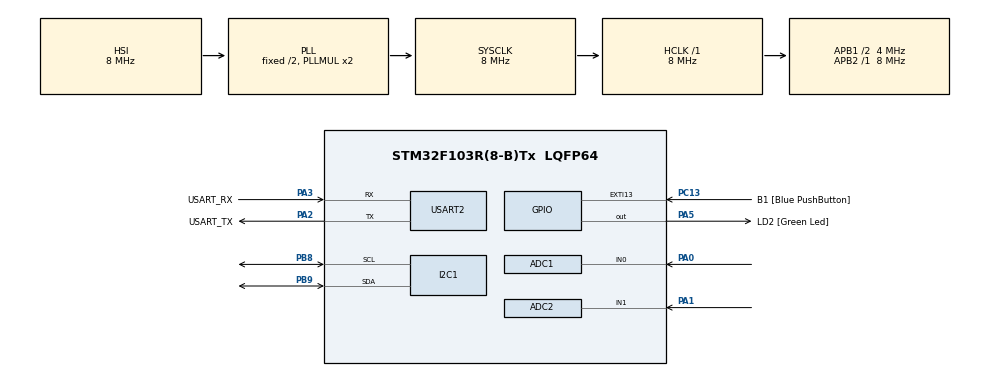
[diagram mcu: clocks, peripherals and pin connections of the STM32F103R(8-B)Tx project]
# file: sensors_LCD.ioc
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ADC1.Channel-0\#ChannelRegularConversion=ADC_CHANNEL_0
ADC1.NbrOfConversionFlag=1
ADC1.Rank-0\#ChannelRegularConversion=1
ADC1.SamplingTime-0\#ChannelRegularConversion=ADC_SAMPLETIME_1CYCLE_5
ADC1.master=1
ADC2.Channel-0\#ChannelRegularConversion=ADC_CHANNEL_1
ADC2.NbrOfConversionFlag=1
ADC2.Rank-0\#ChannelRegularConversion=1
ADC2.SamplingTime-0\#ChannelRegularConversion=ADC_SAMPLETIME_1CYCLE_5
Mcu.Family=STM32F1
Mcu.Name=STM32F103R(8-B)Tx
Mcu.Package=LQFP64
NVIC.EXTI15_10_IRQn=true\:0\:0\:false\:false\:true\:true\:true\:true
NVIC.PriorityGroup=NVIC_PRIORITYGROUP_4
PA0-WKUP.Signal=ADCx_IN0
PA1.Signal=ADCx_IN1
PA13.GPIO_Label=TMS
PA13.Mode=Serial_Wire
PA13.Signal=SYS_JTMS-SWDIO
PA14.GPIO_Label=TCK
PA14.Mode=Serial_Wire
PA14.Signal=SYS_JTCK-SWCLK
PA2.GPIO_Label=USART_TX
PA2.GPIO_Mode=GPIO_MODE_AF_PP
PA2.GPIO_PuPd=GPIO_NOPULL
PA2.GPIO_Speed=GPIO_SPEED_FREQ_LOW
PA2.Mode=Asynchronous
PA2.Signal=USART2_TX
PA3.GPIO_Label=USART_RX
PA3.GPIO_Mode=GPIO_MODE_AF_PP
PA3.GPIO_PuPd=GPIO_NOPULL
PA3.GPIO_Speed=GPIO_SPEED_FREQ_LOW
PA3.Mode=Asynchronous
PA3.Signal=USART2_RX
PA5.GPIO_Label=LD2 [Green Led]
PA5.GPIO_ModeDefaultOutputPP=GPIO_MODE_OUTPUT_PP
PA5.GPIO_PuPd=GPIO_NOPULL
PA5.GPIO_Speed=GPIO_SPEED_FREQ_LOW
PA5.Signal=GPIO_Output
PB3.GPIO_Label=SWO
PB3.Signal=SYS_JTDO-TRACESWO
PB8.Mode=I2C
PB8.Signal=I2C1_SCL
PB9.Mode=I2C
PB9.Signal=I2C1_SDA
PC13-TAMPER-RTC.GPIO_Label=B1 [Blue PushButton]
PC13-TAMPER-RTC.GPIO_PuPd=GPIO_NOPULL
PC13-TAMPER-RTC.Signal=GPXTI13
PC14-OSC32_IN.Mode=LSE-External-Oscillator
PC14-OSC32_IN.Signal=RCC_OSC32_IN
PC15-OSC32_OUT.Mode=LSE-External-Oscillator
PC15-OSC32_OUT.Signal=RCC_OSC32_OUT
PD0-OSC_IN.Mode=HSE-External-Clock-Source
PD0-OSC_IN.Signal=RCC_OSC_IN
PD1-OSC_OUT.Mode=HSE-External-Clock-Source
PD1-OSC_OUT.Signal=RCC_OSC_OUT
ProjectManager.HeapSize=0x200
ProjectManager.StackSize=0x400
ProjectManager.TargetToolchain=STM32CubeIDE
RCC.AHBFreq_Value=8000000
RCC.APB1CLKDivider=RCC_HCLK_DIV2
RCC.APB1Freq_Value=4000000
RCC.APB1TimFreq_Value=8000000
RCC.APB2Freq_Value=8000000
RCC.APB2TimFreq_Value=8000000
RCC.HCLKFreq_Value=8000000
RCC.RTCClockSelection=RCC_RTCCLKSOURCE_LSE
RCC.SYSCLKFreq_VALUE=8000000
RCC.SYSCLKSource=RCC_SYSCLKSOURCE_PLLCLK
RCC.USBFreq_Value=8000000
SH.ADCx_IN0.0=ADC1_IN0,IN0
SH.ADCx_IN1.0=ADC2_IN1,IN1
USART2.VirtualMode=VM_ASYNC
board=NUCLEO-F103RB

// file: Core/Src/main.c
/* USER CODE BEGIN Header */
/**
  ******************************************************************************
  * @file           : main.c
  * @brief          : Main program body
  ******************************************************************************
  * @attention
  *
  * Copyright (c) 2024 STMicroelectronics.
  * All rights reserved.
  *
  * This software is licensed under terms that can be found in the LICENSE file
  * in the root directory of this software component.
  * If no LICENSE file comes with this software, it is provided AS-IS.
  *
  ******************************************************************************
  */
/* USER CODE END Header */
#include "main.h"
#include "liquidcrystal_i2c.h"

/* USER CODE BEGIN Includes */

#include<stdio.h>
#include<string.h>
#include <time.h>

/* USER CODE END Includes */

ADC_HandleTypeDef hadc1;
ADC_HandleTypeDef hadc2;

I2C_HandleTypeDef hi2c1;

UART_HandleTypeDef huart2;

/* USER CODE BEGIN PV */

uint16_t converted_ADC_Value_l = 0;

char formated_msg[50];
/* USER CODE END PV */

void SystemClock_Config(void);
static void MX_GPIO_Init(void);
static void MX_USART2_UART_Init(void);
static void MX_ADC1_Init(void);
static void MX_ADC2_Init(void);
static void MX_I2C1_Init(void);
/* USER CODE BEGIN PFP */

void temp_value_to_Celsius(uint16_t temper_value, char* convertedvalBuffer, size_t bufferSize);
void temp_value_to_Fahrenheit(uint16_t temper_value, char* convertedvalBuffer, size_t bufferSize);

/* USER CODE END PFP */

// Variable to count the number of times the condition is met
int i = 0;
int prev_light = 0;

// Function to control the LED based on the light intensity
void LED_on_Flash(int light) {

	if (light > 2000) {
        // Increment the counter
		if(prev_light < 2000){
			  i = i + 1;
			  prev_light=2001;
		}

        // Check if the counter reaches 5
        if (i == 5) {
            // Check the current state of GPIOA Pin 5
            if (HAL_GPIO_ReadPin(GPIOA, GPIO_PIN_5) != GPIO_PIN_SET) {
                // If it's not set, set it
                HAL_GPIO_WritePin(GPIOA, GPIO_PIN_5, GPIO_PIN_SET);
                // Reset the counter
                i = 0;
            } else {
                // If it's set, reset it
                HAL_GPIO_WritePin(GPIOA, GPIO_PIN_5, GPIO_PIN_RESET);
                // Reset the counter
                i = 0;
            }
        }
    }else{
    	prev_light=0;
    }
}

int main(void)
{
  /* USER CODE BEGIN 1 */
	uint16_t converted_ADC_Value_t;

  /* USER CODE END 1 */

  /* MCU Configuration--------------------------------------------------------*/

  /* Reset of all peripherals, Initializes the Flash interface and the Systick. */
  HAL_Init();

  /* Configure the system clock */
  SystemClock_Config();

  /* Initialize all configured peripherals */
  MX_GPIO_Init();
  MX_USART2_UART_Init();
  MX_ADC1_Init();
  MX_ADC2_Init();
  MX_I2C1_Init();

  /* Infinite loop */
  while (1)
  {

    /* USER CODE BEGIN 3 */
	  HAL_ADC_Start(&hadc1);
	  HAL_ADC_Start(&hadc2);
	  HAL_ADC_PollForConversion(&hadc1, 50);
	  HAL_ADC_PollForConversion(&hadc2, 100);
	  converted_ADC_Value_t = HAL_ADC_GetValue(&hadc2);
	  HAL_ADC_Stop(&hadc1);
	  converted_ADC_Value_l = HAL_ADC_GetValue(&hadc1);
	  //sprintf(formated_msg, "Lv: %hu", converted_ADC_Value_l);
	  sprintf(formated_msg, "Lv: %hu", converted_ADC_Value_l);

	  LED_on_Flash(converted_ADC_Value_l);

	  /*START of LCD*/
	  HD44780_Init(2);
	  HD44780_Clear();
	  HD44780_SetCursor(0,0);
	  HD44780_PrintStr(formated_msg);
	  HD44780_SetCursor(10,1);

	  HAL_UART_Transmit(&huart2, (uint8_t *)formated_msg, strlen(formated_msg), HAL_MAX_DELAY);
	  HAL_Delay(500);

	  char convertedtemperatureCelcius[150];
	  char convertedtemperatureFahrenheit[150];
	  temp_value_to_Celsius(converted_ADC_Value_t, convertedtemperatureCelcius, sizeof(convertedtemperatureCelcius));
	  temp_value_to_Fahrenheit(converted_ADC_Value_t, convertedtemperatureFahrenheit, sizeof(convertedtemperatureFahrenheit));

	  HAL_UART_Transmit(&huart2, convertedtemperatureCelcius, strlen(convertedtemperatureCelcius), HAL_MAX_DELAY);
	  HAL_UART_Transmit(&huart2, convertedtemperatureFahrenheit, strlen(convertedtemperatureFahrenheit), HAL_MAX_DELAY);

	  HD44780_Clear();
	  HD44780_SetCursor(0, 0);
	  HD44780_PrintStr(convertedtemperatureCelcius);
	  HAL_Delay(200);

	  HD44780_SetCursor(0, 1);
	  HD44780_PrintStr(convertedtemperatureFahrenheit);
	  HAL_Delay(200);

	  /*END OF LCD*/

	 // HAL_Delay(250);  // Delay for 1000 milliseconds

  }
  /* USER CODE END 3 */
}

void SystemClock_Config(void)
{
  RCC_OscInitTypeDef RCC_OscInitStruct = {0};
  RCC_ClkInitTypeDef RCC_ClkInitStruct = {0};
  RCC_PeriphCLKInitTypeDef PeriphClkInit = {0};

  /** Initializes the RCC Oscillators according to the specified parameters
  * in the RCC_OscInitTypeDef structure.
  */
  RCC_OscInitStruct.OscillatorType = RCC_OSCILLATORTYPE_HSI;
  RCC_OscInitStruct.HSIState = RCC_HSI_ON;
  RCC_OscInitStruct.HSICalibrationValue = RCC_HSICALIBRATION_DEFAULT;
  RCC_OscInitStruct.PLL.PLLState = RCC_PLL_ON;
  RCC_OscInitStruct.PLL.PLLSource = RCC_PLLSOURCE_HSI_DIV2;
  RCC_OscInitStruct.PLL.PLLMUL = RCC_PLL_MUL2;
  if (HAL_RCC_OscConfig(&RCC_OscInitStruct) != HAL_OK)
  {
    Error_Handler();
  }

  /** Initializes the CPU, AHB and APB buses clocks
  */
  RCC_ClkInitStruct.ClockType = RCC_CLOCKTYPE_HCLK|RCC_CLOCKTYPE_SYSCLK
                              |RCC_CLOCKTYPE_PCLK1|RCC_CLOCKTYPE_PCLK2;
  RCC_ClkInitStruct.SYSCLKSource = RCC_SYSCLKSOURCE_PLLCLK;
  RCC_ClkInitStruct.AHBCLKDivider = RCC_SYSCLK_DIV1;
  RCC_ClkInitStruct.APB1CLKDivider = RCC_HCLK_DIV2;
  RCC_ClkInitStruct.APB2CLKDivider = RCC_HCLK_DIV1;

  if (HAL_RCC_ClockConfig(&RCC_ClkInitStruct, FLASH_LATENCY_0) != HAL_OK)
  {
    Error_Handler();
  }
  PeriphClkInit.PeriphClockSelection = RCC_PERIPHCLK_ADC;
  PeriphClkInit.AdcClockSelection = RCC_ADCPCLK2_DIV2;
  if (HAL_RCCEx_PeriphCLKConfig(&PeriphClkInit) != HAL_OK)
  {
    Error_Handler();
  }
}

static void MX_ADC1_Init(void)
{

  ADC_ChannelConfTypeDef sConfig = {0};

  /** Common config
  */
  hadc1.Instance = ADC1;
  hadc1.Init.ScanConvMode = ADC_SCAN_DISABLE;
  hadc1.Init.ContinuousConvMode = DISABLE;
  hadc1.Init.DiscontinuousConvMode = DISABLE;
  hadc1.Init.ExternalTrigConv = ADC_SOFTWARE_START;
  hadc1.Init.DataAlign = ADC_DATAALIGN_RIGHT;
  hadc1.Init.NbrOfConversion = 1;
  if (HAL_ADC_Init(&hadc1) != HAL_OK)
  {
    Error_Handler();
  }

  /** Configure Regular Channel
  */
  sConfig.Channel = ADC_CHANNEL_0;
  sConfig.Rank = ADC_REGULAR_RANK_1;
  sConfig.SamplingTime = ADC_SAMPLETIME_1CYCLE_5;
  if (HAL_ADC_ConfigChannel(&hadc1, &sConfig) != HAL_OK)
  {
    Error_Handler();
  }

}

static void MX_ADC2_Init(void)
{

  ADC_ChannelConfTypeDef sConfig = {0};

  /** Common config
  */
  hadc2.Instance = ADC2;
  hadc2.Init.ScanConvMode = ADC_SCAN_DISABLE;
  hadc2.Init.ContinuousConvMode = DISABLE;
  hadc2.Init.DiscontinuousConvMode = DISABLE;
  hadc2.Init.ExternalTrigConv = ADC_SOFTWARE_START;
  hadc2.Init.DataAlign = ADC_DATAALIGN_RIGHT;
  hadc2.Init.NbrOfConversion = 1;
  if (HAL_ADC_Init(&hadc2) != HAL_OK)
  {
    Error_Handler();
  }

  /** Configure Regular Channel
  */
  sConfig.Channel = ADC_CHANNEL_1;
  sConfig.Rank = ADC_REGULAR_RANK_1;
  sConfig.SamplingTime = ADC_SAMPLETIME_1CYCLE_5;
  if (HAL_ADC_ConfigChannel(&hadc2, &sConfig) != HAL_OK)
  {
    Error_Handler();
  }

}

static void MX_I2C1_Init(void)
{

  hi2c1.Instance = I2C1;
  hi2c1.Init.ClockSpeed = 100000;
  hi2c1.Init.DutyCycle = I2C_DUTYCYCLE_2;
  hi2c1.Init.OwnAddress1 = 0;
  hi2c1.Init.AddressingMode = I2C_ADDRESSINGMODE_7BIT;
  hi2c1.Init.DualAddressMode = I2C_DUALADDRESS_DISABLE;
  hi2c1.Init.OwnAddress2 = 0;
  hi2c1.Init.GeneralCallMode = I2C_GENERALCALL_DISABLE;
  hi2c1.Init.NoStretchMode = I2C_NOSTRETCH_DISABLE;
  if (HAL_I2C_Init(&hi2c1) != HAL_OK)
  {
    Error_Handler();
  }

}

static void MX_USART2_UART_Init(void)
{

  huart2.Instance = USART2;
  huart2.Init.BaudRate = 115200;
  huart2.Init.WordLength = UART_WORDLENGTH_8B;
  huart2.Init.StopBits = UART_STOPBITS_1;
  huart2.Init.Parity = UART_PARITY_NONE;
  huart2.Init.Mode = UART_MODE_TX_RX;
  huart2.Init.HwFlowCtl = UART_HWCONTROL_NONE;
  huart2.Init.OverSampling = UART_OVERSAMPLING_16;
  if (HAL_UART_Init(&huart2) != HAL_OK)
  {
    Error_Handler();
  }

}

static void MX_GPIO_Init(void)
{
  GPIO_InitTypeDef GPIO_InitStruct = {0};

  /* GPIO Ports Clock Enable */
  __HAL_RCC_GPIOC_CLK_ENABLE();
  __HAL_RCC_GPIOD_CLK_ENABLE();
  __HAL_RCC_GPIOA_CLK_ENABLE();
  __HAL_RCC_GPIOB_CLK_ENABLE();

  /*Configure GPIO pin Output Level */
  HAL_GPIO_WritePin(LD2_GPIO_Port, LD2_Pin, GPIO_PIN_RESET);

  /*Configure GPIO pin : B1_Pin */
  GPIO_InitStruct.Pin = B1_Pin;
  GPIO_InitStruct.Mode = GPIO_MODE_IT_RISING;
  GPIO_InitStruct.Pull = GPIO_NOPULL;
  HAL_GPIO_Init(B1_GPIO_Port, &GPIO_InitStruct);

  /*Configure GPIO pin : LD2_Pin */
  GPIO_InitStruct.Pin = LD2_Pin;
  GPIO_InitStruct.Mode = GPIO_MODE_OUTPUT_PP;
  GPIO_InitStruct.Pull = GPIO_NOPULL;
  GPIO_InitStruct.Speed = GPIO_SPEED_FREQ_LOW;
  HAL_GPIO_Init(LD2_GPIO_Port, &GPIO_InitStruct);

  /* EXTI interrupt init*/
  HAL_NVIC_SetPriority(EXTI15_10_IRQn, 0, 0);
  HAL_NVIC_EnableIRQ(EXTI15_10_IRQn);

}

/* USER CODE BEGIN 4 */

void temp_value_to_Celsius(uint16_t temper_value, char* convertedvalBuffer, size_t bufferSize) {
    uint32_t Celsius_value = 0;
    uint32_t Fahrenheit_value = 0;

    // Convert temperature to Celsius
    Celsius_value = (temper_value * 0.05);

    // Convert Celsius to Fahrenheit
    Fahrenheit_value = ((Celsius_value * 9) / 5) + 32;

    // Format the temperature statements into a single string
    snprintf(convertedvalBuffer, bufferSize, "Cel: %lu C", Celsius_value);
}

void temp_value_to_Fahrenheit(uint16_t temper_value, char* convertedvalBuffer, size_t bufferSize) {
    uint32_t Celsius_value = 0;
    uint32_t Fahrenheit_value = 0;

    // Convert temperature to Celsius
    Celsius_value = (temper_value * 0.05);

    // Convert Celsius to Fahrenheit
    Fahrenheit_value = ((Celsius_value * 9) / 5) + 32;

    // Format the temperature statements into a single string
    snprintf(convertedvalBuffer, bufferSize, "Fahr: %lu F", Fahrenheit_value);

}

/* USER CODE END 4 */

void Error_Handler(void)
{
	  __disable_irq();
	  while (1)
	  {
	  }
}
